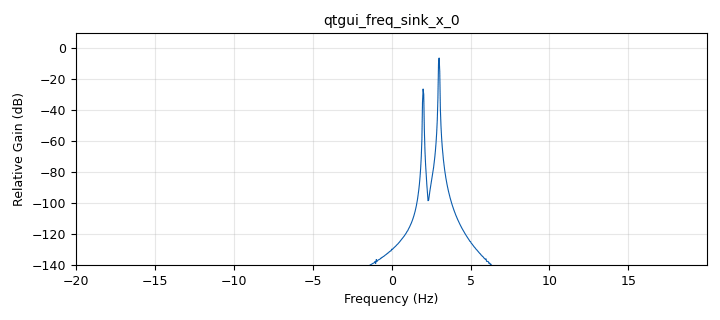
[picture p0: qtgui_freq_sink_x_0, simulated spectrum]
options:
  parameters:
    generate_options: qt_gui
    id: IFA
    output_language: python
    title: IF
  states: {}

blocks:
- name: A_h
  id: variable
  parameters:
    comment: Heart Amplitude
    value: '1e-1'
  states: {}
- name: A_r
  id: variable
  parameters:
    comment: Respiration Amplitude
    value: '1'
  states: {}
- name: IF
  id: variable
  parameters:
    value: samp_rate/100
  states: {}
- name: M
  id: variable
  parameters:
    value: '100'
  states: {}
- name: f_h
  id: variable
  parameters:
    comment: Heart Frequency
    value: '2 #80/60'
  states: {}
- name: f_r
  id: variable
  parameters:
    comment: Heart Frequency
    value: '3 #14/60'
  states: {}
- name: fft_size
  id: variable
  parameters:
    comment: |-
      Techo de la
      potencia más
      cercana
      o Límite
    value: max( min( int(2**np.ceil(np.log2(time*samp_rate/M))) , 2**15) , 2**10)
  states: {}
- name: frequency
  id: variable_qtgui_range
  parameters:
    start: '-samp_rate/2'
    step: '1'
    stop: samp_rate/2
    value: '0'
  states: {state: disabled}
- name: samp_rate
  id: variable
  parameters:
    comment: 'Max: 61.44 MS/s'
    value: 4e3
  states: {}
- name: time
  id: variable
  parameters:
    comment: Seconds
    value: '1'
  states: {}
- name: analog_sig_source_x_0
  id: analog_sig_source_x
  parameters:
    amp: A_r
    freq: f_r
    offset: '0'
    phase: '0'
    samp_rate: samp_rate
    type: complex
    waveform: analog.GR_SIN_WAVE
  states: {}
- name: analog_sig_source_x_0_0
  id: analog_sig_source_x
  parameters:
    amp: A_h
    freq: f_h
    offset: '0'
    phase: '0'
    samp_rate: samp_rate
    type: complex
    waveform: analog.GR_SIN_WAVE
  states: {}
- name: analog_sig_source_x_0_0_0
  id: analog_sig_source_x
  parameters:
    amp: '1'
    freq: IF
    offset: '0'
    phase: '0'
    samp_rate: samp_rate
    type: complex
    waveform: analog.GR_SIN_WAVE
  states: {state: disabled}
- name: blocks_add_xx_0
  id: blocks_add_xx
  parameters:
    type: complex
  states: {}
- name: blocks_multiply_xx_0
  id: blocks_multiply_xx
  parameters:
    type: complex
  states: {state: disabled}
- name: blocks_throttle2_0
  id: blocks_throttle2
  parameters:
    samples_per_second: samp_rate
    type: complex
  states: {}
- name: import_0
  id: import
  parameters:
    imports: import numpy as np
  states: {}
- name: low_pass_filter_0
  id: low_pass_filter
  parameters:
    cutoff_freq: samp_rate/4
    decim: '1'
    gain: '1'
    samp_rate: samp_rate
    type: fir_filter_ccf
    width: samp_rate/8
    win: window.WIN_HAMMING
  states: {state: disabled}
- name: qtgui_freq_sink_x_0
  id: qtgui_freq_sink_x
  parameters:
    bw: samp_rate/M
    fc: '0'
    fftsize: fft_size
    grid: 'True'
    type: complex
    wintype: window.WIN_HANN
  states: {}
- name: rational_resampler_xxx_0
  id: rational_resampler_xxx
  parameters:
    decim: M
    fbw: '0.4'
    interp: '1'
    type: ccc
  states: {}

connections:
- [analog_sig_source_x_0, '0', blocks_add_xx_0, '0']
- [analog_sig_source_x_0_0, '0', blocks_add_xx_0, '1']
- [analog_sig_source_x_0_0_0, '0', blocks_multiply_xx_0, '1']
- [blocks_add_xx_0, '0', rational_resampler_xxx_0, '0']
- [blocks_throttle2_0, '0', qtgui_freq_sink_x_0, '0']
- [rational_resampler_xxx_0, '0', blocks_throttle2_0, '0']

metadata:
  file_format: 1
  grc_version: 3.10.8.0
